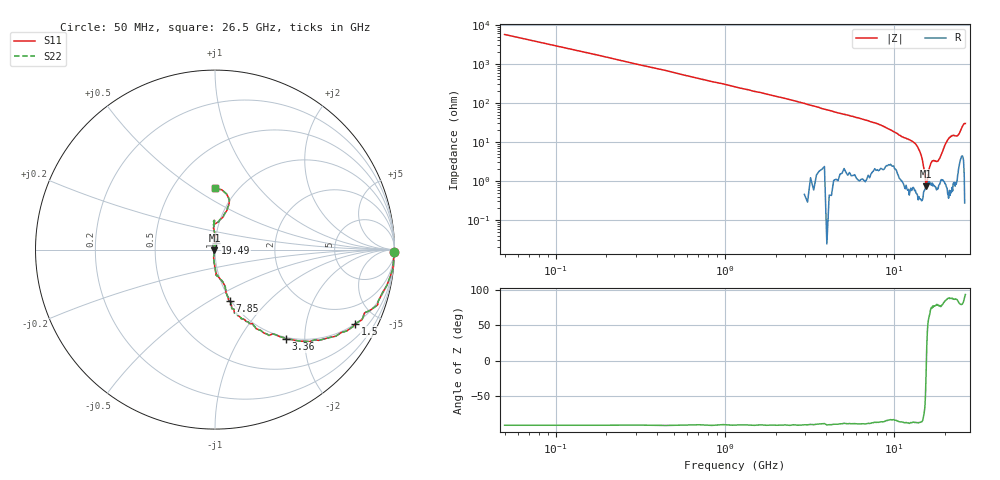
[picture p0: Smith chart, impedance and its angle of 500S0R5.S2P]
!  American Technical Ceramics  Date:  3/6/98
!  One Norden Lane
!  Huntington Station,  NY.  11746-2102
!  Tel:  (516) 547-5700  Fax:  (516) 547-5748
!  Part Number  500S0R5
!  Description: Broadband Microwave capacitor
!  Application:
# GHZ S DB R 50
! Freq  |S11|  S11 Ph  |S21|  S21 Ph  |S12|  S12 Ph  |S22|  S22 Ph
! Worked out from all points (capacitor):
!   201 points, 50 MHz to 26.5 GHz, reference 50 ohm
!   read as one part in series: C = 534 fF near 180 MHz
!   lowest |Z| = 732 mohm at 15.52 GHz (marker M1)
!   series resonance near 15.58 GHz, so ESL is about 200 pH
!   S11 on the Smith chart (normalised r, x): 50 MHz: open; 1.5 GHz: 1.00, -3.77; 3.36 GHz: 0.97, -1.63; 7.85 GHz: 0.99, -0.62; 19.49 GHz: 1.01, +0.08; 26.5 GHz: 0.79, +0.62
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0.05  -0.02 -0.9  -35.08 89.5  -35.08 89.5  -0.02 -0.9
0.18  -0.03 -3.7  -24.41 86.7  -24.41 86.7  -0.03 -3.7
0.45  -0.11 -8.8  -16.69 81.9  -16.69 81.9  -0.11 -8.8
1.5  -1.08 -27.9  -7.02 62.8  -7.02 62.8  -1.08 -27.9
3.36  -3.91 -51.6  -2.47 38.5  -2.47 38.5  -3.91 -51.6
4.55  -5.86 -61.4  -1.45 27.9  -1.45 27.9  -5.86 -61.4
7.85  -10.47 -73.7  -0.69 15.1  -0.69 15.1  -10.47 -73.7
8.91  -12.46 -75.2  -0.55 12.0  -0.55 12.0  -12.46 -75.2
13.28  -18.13 -88.3  -0.20 3.4  -0.20 3.4  -18.13 -88.3
14.73  -26.24 -98.6  -0.14 1.3  -0.14 1.3  -26.24 -98.6
15.26  -35.05 -106.7  -0.15 0.5  -0.15 0.5  -35.05 -106.7
15.52  -46.81 -136.4  -0.15 0.1  -0.15 0.1  -46.81 -136.4
15.66  -46.32 130.5  -0.16 -0.1  -0.16 -0.1  -46.32 130.5
16.05  -33.75 91.1  -0.17 -0.6  -0.17 -0.6  -33.75 91.1
16.58  -29.12 91.7  -0.16 -1.1  -0.16 -1.1  -29.12 91.7
17.77  -33.06 104.0  -0.17 -2.3  -0.17 -2.3  -33.06 104.0
18.57  -38.85 102.9  -0.17 -3.5  -0.17 -3.5  -38.85 102.9
19.49  -28.43 83.4  -0.18 -4.5  -0.18 -4.5  -28.43 83.4
20.28  -21.76 88.7  -0.23 -5.8  -0.23 -5.8  -21.76 88.7
22.14  -16.01 90.7  -0.44 -7.4  -0.44 -7.4  -16.01 90.7
23.99  -16.78 89.2  -0.55 -8.3  -0.55 -8.3  -16.78 89.2
26.5  -9.26 89.9  -1.08 -13.1  -1.08 -13.1  -9.26 89.9
